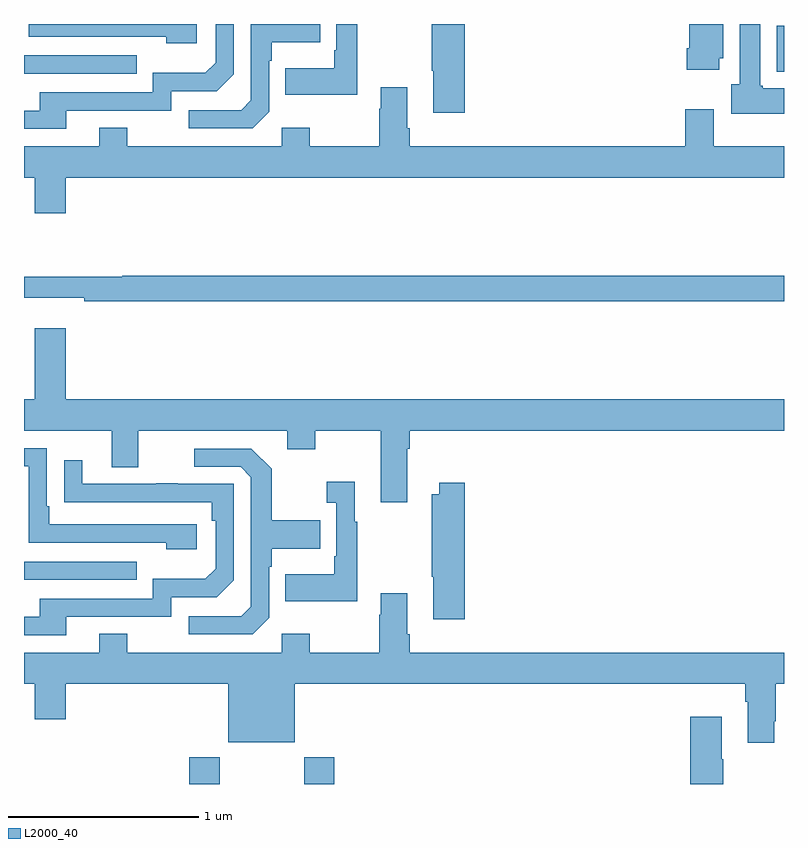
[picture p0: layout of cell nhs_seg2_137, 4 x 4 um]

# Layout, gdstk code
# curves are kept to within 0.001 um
import gdstk
lib = gdstk.Library(unit=1e-6, precision=1e-09)
def R(c, l, rs):  # rectangles x0, y0, x1, y1
    for r in rs: c.add(gdstk.rectangle(r[:2], r[2:], *l))
def P(c, l, *ps):  # polygons
    for p in ps: c.add(gdstk.Polygon(p, *l))
L2000_40 = (2000, 40)

nhs_seg2_137 = lib.new_cell('nhs_seg2_137')
R(nhs_seg2_137, L2000_40, [(117.869,621.8,118.029,621.94), (118.474,621.8,118.634,621.94), (117,622.875,117.593,622.971), (117,625.539,117.593,625.635), (120.962,625.55,121,625.792)])
P(nhs_seg2_137, L2000_40, [(118.29,625.338),(118.29,625.607),(118.303,625.607),(118.303,625.703),(118.559,625.703),(118.559,625.8),(118.194,625.8),(118.194,625.398),(118.143,625.347),(117.867,625.347),(117.867,625.251),(118.203,625.251)],
  [(117.223,625.344),(117.774,625.344),(117.774,625.446),(118.014,625.446),(118.104,625.536),(118.104,625.8),(118.008,625.8),(118.008,625.596),(117.955,625.543),(117.678,625.543),(117.678,625.44),(117.083,625.44),(117.083,625.344),(117,625.344),(117,625.248),(117.223,625.248)],
  [(117.91,625.8),(117.024,625.8),(117.024,625.734),(117.749,625.734),(117.749,625.7),(117.91,625.7)],
  [(121,625.462),(120.888,625.462),(120.888,625.476),(120.874,625.476),(120.874,625.8),(120.767,625.8),(120.767,625.482),(120.722,625.482),(120.722,625.328),(121,625.328)],
  [(118.753,625.8),(118.644,625.8),(118.644,625.663),(118.632,625.663),(118.632,625.567),(118.375,625.567),(118.375,625.427),(118.753,625.427)],
  [(119.321,625.8),(119.146,625.8),(119.146,625.555),(119.153,625.555),(119.153,625.332),(119.321,625.332)],
  [(120.658,625.62),(120.679,625.62),(120.679,625.8),(120.5,625.8),(120.5,625.672),(120.488,625.672),(120.488,625.56),(120.658,625.56)],
  [(117.22,624.992),(121,624.992),(121,625.156),(120.631,625.156),(120.631,625.351),(120.479,625.351),(120.479,625.156),(119.03,625.156),(119.03,625.252),(119.017,625.252),(119.017,625.468),(118.877,625.468),(118.877,625.355),(118.87,625.355),(118.87,625.156),(118.503,625.156),(118.503,625.255),(118.356,625.255),(118.356,625.156),(117.543,625.156),(117.543,625.255),(117.395,625.255),(117.395,625.156),(117,625.156),(117,624.992),(117.056,624.992),(117.056,624.804),(117.22,624.804)],
  [(121,624.476),(117.518,624.476),(117.518,624.469),(117,624.469),(117,624.359),(117.316,624.359),(117.316,624.34),(121,624.34)],
  [(119.017,623.564),(119.03,623.564),(119.03,623.66),(121,623.66),(121,623.824),(117.22,623.824),(117.22,624.199),(117.056,624.199),(117.056,623.824),(117,623.824),(117,623.66),(117.461,623.66),(117.461,623.466),(117.601,623.466),(117.601,623.66),(118.385,623.66),(118.385,623.561),(118.533,623.561),(118.533,623.66),(118.877,623.66),(118.877,623.283),(119.017,623.283)],
  [(117.91,623.166),(117.133,623.166),(117.133,623.263),(117.12,623.263),(117.12,623.568),(117,623.568),(117,623.472),(117.024,623.472),(117.024,623.07),(117.749,623.07),(117.749,623.036),(117.91,623.036)],
  [(118.29,622.674),(118.29,622.943),(118.303,622.943),(118.303,623.039),(118.559,623.039),(118.559,623.187),(118.303,623.187),(118.303,623.459),(118.197,623.565),(117.897,623.565),(117.897,623.469),(118.14,623.469),(118.194,623.415),(118.194,622.734),(118.143,622.683),(117.867,622.683),(117.867,622.587),(118.203,622.587)],
  [(117.223,622.68),(117.774,622.68),(117.774,622.782),(118.014,622.782),(118.104,622.872),(118.104,623.379),(117.809,623.379),(117.809,623.384),(117.697,623.384),(117.697,623.379),(117.307,623.379),(117.307,623.503),(117.211,623.503),(117.211,623.284),(117.988,623.283),(117.988,623.186),(118.008,623.186),(118.008,622.932),(117.955,622.879),(117.678,622.879),(117.678,622.776),(117.083,622.776),(117.083,622.68),(117,622.68),(117,622.584),(117.223,622.584)],
  [(118.753,623.179),(118.741,623.179),(118.741,623.392),(118.593,623.392),(118.593,623.279),(118.644,623.279),(118.644,622.999),(118.632,622.999),(118.632,622.903),(118.375,622.903),(118.375,622.763),(118.753,622.763)],
  [(119.321,623.386),(119.186,623.386),(119.186,623.326),(119.146,623.326),(119.146,622.891),(119.153,622.891),(119.153,622.668),(119.321,622.668)],
  [(120.949,622.129),(120.957,622.129),(120.957,622.328),(121,622.328),(121,622.492),(119.03,622.492),(119.03,622.588),(119.017,622.588),(119.017,622.804),(118.877,622.804),(118.877,622.691),(118.87,622.691),(118.87,622.492),(118.503,622.492),(118.503,622.591),(118.356,622.591),(118.356,622.492),(117.543,622.492),(117.543,622.591),(117.395,622.591),(117.395,622.492),(117,622.492),(117,622.328),(117.056,622.328),(117.056,622.14),(117.22,622.14),(117.22,622.328),(118.076,622.328),(118.076,622.019),(118.426,622.019),(118.426,622.328),(120.797,622.328),(120.797,622.232),(120.809,622.232),(120.809,622.017),(120.949,622.017)],
  [(120.681,621.929),(120.673,621.929),(120.673,622.153),(120.506,622.153),(120.506,621.8),(120.681,621.8)])

lib.write_gds('nhs_seg2_137.gds')
